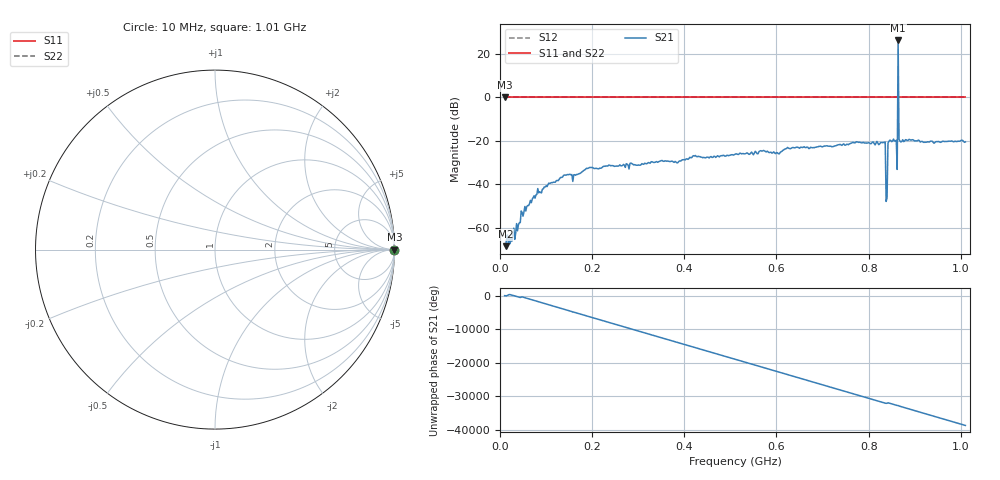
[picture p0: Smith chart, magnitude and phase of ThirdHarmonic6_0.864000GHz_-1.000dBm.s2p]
! 8/16/2025 4:33:26 AM
! C:\ANRITSUVNA\TEMP\TEMP.S2P
! CHANNEL.1
! TR.MEASUREMENT
! RAW.DATA
! RF.CORRECTION.OFF
! AVERAGING.OFF
! IF.BANDWIDTH: 5KHZ
! SWEEPTYPE:  FREQ.SWEEP(Linear)
! Reference Plane Port Info
! PORT:  PORT1  PORT2
! DISTANCE:  0  m  0  m
! TIME:  0  s  0  s
! PHASE.OFFSET:  0  deg.  0  deg.
! LOSS:  0  dB  0  dB
! REF.LOSS:  0  dB  0  dB
! REF.FREQ:  0  Hz  0  Hz
! Power Info
! POWER:  -20  dBm  -20  dBm
! EFF.POWER:  -20  dBm  -20  dBm
! SOURCE.ATTEN:  0  dB  0  dB
! TEST.ATTEN:  0  dB  0  dB
# GHZ S RI R 50.0
! FREQ.GHZ  S11RE  S11IM  S21RE  S21IM  S12RE  S12IM  S22RE  S22IM
!; PortSelection: Port_12
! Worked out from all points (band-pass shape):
!   501 points, 10 MHz to 1.01 GHz, reference 50 ohm
!   highest |S21| = 26.09 dB at 864 MHz (marker M1); lowest = -68.4 dB at 12 MHz (marker M2)
!   |S21| within 3 dB of the highest: 863.8987 MHz to 864.132 MHz (233.4 kHz wide, 0.027 % of centre)
!   lowest |S11| = 0.0 dB at 10 MHz (marker M3)
!   |S11| at or under -10 dB: nowhere
!   |S22| runs from 0.0 to 0.0 dB; largest |S21 - S12| = 19
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0.01  1 0  0.000107 0.000382  1 0  1 0
0.012  1 0  0.000344 0.000165  1 0  1 0
0.03  1 0  0.000283 0.000947  1 0  1 0
0.05  1 0  0.00183 -0.000376  1 0  1 0
0.082  1 0  -0.00156 0.00786  1 0  1 0
0.178  1 0  -0.0192 -0.00298  1 0  1 0
0.344  1 0  0.0306 -0.0122  1 0  1 0
0.51  1 0  -0.0398 0.0288  1 0  1 0
0.678  1 0  -0.0544 -0.0429  1 0  1 0
0.832  1 0  -0.0558 0.0728  1 0  1 0
0.836  1 0  0.0794 -0.0492  1 0  1 0
0.838  1 0  0.000289 -0.00405  1 0  1 0
0.842  1 0  0.00584 0.0889  1 0  1 0
0.844  1 0  0.097 0.00739  1 0  1 0
0.846  1 0  0.0224 -0.1007  1 0  1 0
0.856  1 0  -0.0555 -0.0831  1 0  1 0
0.858  1 0  -0.089 0.0416  1 0  1 0
0.86  1 0  0.0276 0.099  1 0  1 0
0.864  1 0  18.32 -8.391  1 0  1 0
0.868  1 0  -0.027 0.095  1 0  1 0
0.87  1 0  0.0831 0.0444  1 0  1 0
1.01  1 0  -0.0727 0.0607  1 0  1 0
